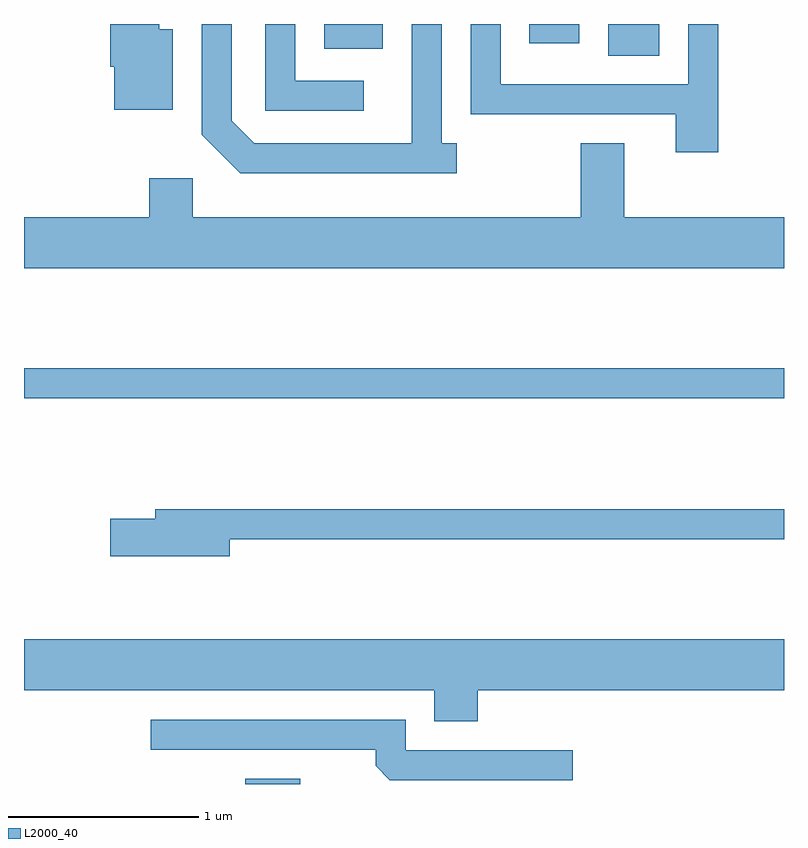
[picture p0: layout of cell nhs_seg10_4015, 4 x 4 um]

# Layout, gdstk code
import gdstk
lib = gdstk.Library(unit=1e-6, precision=1e-09)
def R(c, l, rs):  # rectangles x0, y0, x1, y1
    for r in rs: c.add(gdstk.rectangle(r[:2], r[2:], *l))
def P(c, l, *ps):  # polygons
    for p in ps: c.add(gdstk.Polygon(p, *l))
L2000_40 = (2000, 40)

nhs_seg10_4015 = lib.new_cell('nhs_seg10_4015')
R(nhs_seg10_4015, L2000_40, [(304.776,2124.522,305.064,2124.549), (303.611,2126.551,307.611,2126.709), (306.686,2128.356,306.954,2128.522), (305.191,2128.391,305.499,2128.522), (306.271,2128.421,306.534,2128.522)])
P(nhs_seg10_4015, L2000_40, [(305.398,2128.224),(305.039,2128.224),(305.039,2128.522),(304.881,2128.522),(304.881,2128.066),(305.398,2128.066)],
  [(304.394,2128.494),(304.324,2128.494),(304.324,2128.522),(304.066,2128.522),(304.066,2128.296),(304.086,2128.296),(304.086,2128.071),(304.394,2128.071)],
  [(307.264,2128.522),(307.106,2128.522),(307.106,2128.204),(306.119,2128.204),(306.119,2128.522),(305.961,2128.522),(305.961,2128.046),(307.041,2128.046),(307.041,2127.846),(307.264,2127.846)],
  [(305.888,2127.894),(305.809,2127.894),(305.809,2128.522),(305.651,2128.522),(305.651,2127.894),(304.822,2127.894),(304.704,2128.012),(304.704,2128.522),(304.546,2128.522),(304.546,2127.939),(304.749,2127.736),(305.888,2127.736)],
  [(307.611,2127.504),(306.769,2127.504),(306.769,2127.894),(306.541,2127.894),(306.541,2127.504),(304.499,2127.504),(304.499,2127.709),(304.271,2127.709),(304.271,2127.504),(303.611,2127.504),(303.611,2127.236),(307.611,2127.236)],
  [(304.694,2125.811),(307.611,2125.811),(307.611,2125.969),(304.301,2125.969),(304.301,2125.919),(304.066,2125.919),(304.066,2125.721),(304.694,2125.721)],
  [(305.999,2125.016),(307.611,2125.016),(307.611,2125.284),(303.611,2125.284),(303.611,2125.016),(305.771,2125.016),(305.771,2124.851),(305.999,2124.851)],
  [(306.498,2124.699),(305.619,2124.699),(305.619,2124.859),(304.278,2124.859),(304.278,2124.701),(305.461,2124.701),(305.461,2124.617),(305.537,2124.541),(306.498,2124.541)])

lib.write_gds('nhs_seg10_4015.gds')
